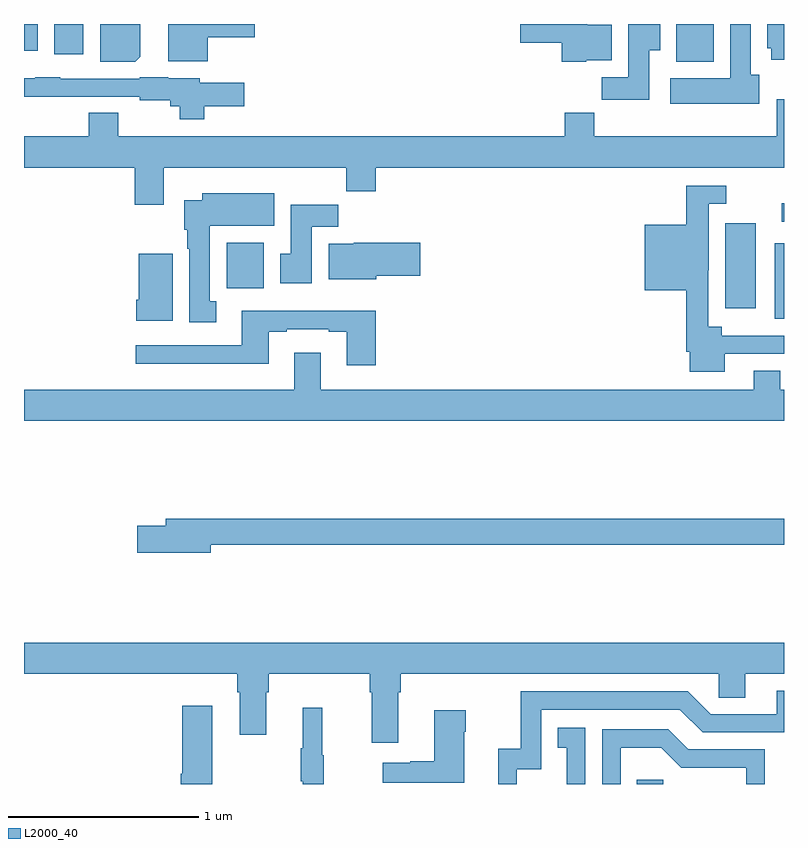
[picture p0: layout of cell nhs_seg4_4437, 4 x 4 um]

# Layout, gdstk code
import gdstk
lib = gdstk.Library(unit=1e-6, precision=1e-09)
def R(c, l, rs):  # rectangles x0, y0, x1, y1
    for r in rs: c.add(gdstk.rectangle(r[:2], r[2:], *l))
def P(c, l, *ps):  # polygons
    for p in ps: c.add(gdstk.Polygon(p, *l))
L2000_40 = (2000, 40)

nhs_seg4_4437 = lib.new_cell('nhs_seg4_4437')
R(nhs_seg4_4437, L2000_40, [(352.225,802.9,352.365,802.923), (352.952,805.349,353,805.747), (352.691,805.404,352.852,805.852), (350.066,805.508,350.263,805.75), (352.989,805.86,353,805.956), (352.433,806.702,352.63,806.9), (349.16,806.742,349.312,806.9), (349,806.76,349.072,806.9)])
P(nhs_seg4_4437, L2000_40, [(349.612,806.728),(349.612,806.9),(349.4,806.9),(349.4,806.702),(349.586,806.702)],
  [(353,806.9),(352.913,806.9),(352.913,806.772),(352.934,806.772),(352.934,806.712),(353,806.712)],
  [(351.96,806.708),(352.093,806.708),(352.093,806.896),(351.964,806.896),(351.964,806.9),(351.612,806.9),(351.612,806.801),(351.83,806.801),(351.83,806.702),(351.96,806.702)],
  [(349.966,806.831),(350.215,806.831),(350.215,806.9),(349.76,806.9),(349.76,806.705),(349.966,806.705)],
  [(352.87,806.634),(352.825,806.634),(352.825,806.9),(352.718,806.9),(352.718,806.614),(352.401,806.614),(352.401,806.48),(352.87,806.48)],
  [(352.291,806.761),(352.348,806.761),(352.348,806.9),(352.181,806.9),(352.181,806.62),(352.042,806.62),(352.042,806.502),(352.291,806.502)],
  [(349.949,806.468),(350.158,806.468),(350.158,806.59),(349.926,806.59),(349.926,806.614),(349.758,806.614),(349.758,806.62),(349.608,806.62),(349.608,806.613),(349.191,806.613),(349.191,806.62),(349.059,806.62),(349.059,806.614),(349,806.614),(349,806.516),(349.191,806.516),(349.191,806.517),(349.608,806.517),(349.608,806.498),(349.769,806.498),(349.769,806.468),(349.821,806.468),(349.821,806.399),(349.949,806.399)],
  [(349.735,806.144),(350.695,806.144),(350.695,806.02),(350.852,806.02),(350.852,806.144),(353,806.144),(353,806.503),(352.961,806.503),(352.961,806.308),(352.001,806.308),(352.001,806.432),(351.845,806.432),(351.845,806.308),(349.497,806.308),(349.497,806.432),(349.342,806.432),(349.342,806.308),(349,806.308),(349,806.144),(349.583,806.144),(349.583,805.95),(349.735,805.95)],
  [(352.687,805.164),(353,805.164),(353,805.26),(352.672,805.26),(352.672,805.306),(352.602,805.306),(352.602,805.603),(352.603,805.603),(352.603,805.953),(352.696,805.953),(352.696,806.049),(352.486,806.049),(352.486,805.843),(352.268,805.843),(352.268,805.499),(352.486,805.499),(352.486,805.174),(352.505,805.174),(352.505,805.07),(352.687,805.07)],
  [(350.011,805.442),(349.978,805.442),(349.978,805.838),(350.317,805.838),(350.317,806.008),(349.937,806.008),(349.937,805.972),(349.844,805.972),(349.844,805.818),(349.858,805.818),(349.858,805.718),(349.871,805.718),(349.871,805.329),(350.011,805.329)],
  [(350.515,805.832),(350.654,805.832),(350.654,805.95),(350.405,805.95),(350.405,805.692),(350.348,805.692),(350.348,805.536),(350.515,805.536)],
  [(350.854,805.574),(351.085,805.574),(351.085,805.75),(350.736,805.75),(350.736,805.744),(350.603,805.744),(350.603,805.556),(350.854,805.556)],
  [(349.783,805.69),(349.604,805.69),(349.604,805.45),(349.592,805.45),(349.592,805.338),(349.783,805.338)],
  [(350.852,805.39),(350.147,805.39),(350.147,805.209),(349.587,805.209),(349.587,805.112),(350.287,805.112),(350.287,805.281),(350.383,805.281),(350.383,805.293),(350.603,805.293),(350.603,805.281),(350.699,805.281),(350.699,805.104),(350.852,805.104)],
  [(353,804.976),(352.981,804.976),(352.981,805.075),(352.841,805.075),(352.841,804.976),(350.563,804.976),(350.563,805.171),(350.423,805.171),(350.423,804.976),(349,804.976),(349,804.812),(353,804.812)],
  [(349.984,804.16),(353,804.16),(353,804.296),(349.745,804.296),(349.745,804.26),(349.596,804.26),(349.596,804.118),(349.984,804.118)],
  [(350.971,803.384),(350.984,803.384),(350.984,803.48),(352.656,803.48),(352.656,803.353),(352.795,803.353),(352.795,803.48),(353,803.48),(353,803.644),(349,803.644),(349,803.48),(350.123,803.48),(350.123,803.384),(350.135,803.384),(350.135,803.16),(350.275,803.16),(350.275,803.384),(350.288,803.384),(350.288,803.48),(350.819,803.48),(350.819,803.384),(350.831,803.384),(350.831,803.118),(350.971,803.118)],
  [(351.594,802.977),(351.723,802.977),(351.723,803.292),(352.452,803.292),(352.572,803.172),(353,803.172),(353,803.391),(352.961,803.391),(352.961,803.268),(352.614,803.268),(352.494,803.388),(351.615,803.388),(351.615,803.086),(351.497,803.086),(351.497,802.9),(351.594,802.9)],
  [(349.99,803.311),(349.832,803.311),(349.832,802.953),(349.826,802.953),(349.826,802.9),(349.99,802.9)],
  [(350.578,803.052),(350.57,803.052),(350.57,803.302),(350.468,803.302),(350.468,803.089),(350.457,803.089),(350.457,802.915),(350.468,802.915),(350.468,802.9),(350.578,802.9)],
  [(351.316,803.174),(351.324,803.174),(351.324,803.287),(351.158,803.287),(351.158,803.021),(351.032,803.021),(351.032,803.011),(350.889,803.011),(350.889,802.907),(351.316,802.907)],
  [(351.954,803.197),(351.808,803.197),(351.808,803.091),(351.857,803.091),(351.857,802.9),(351.954,802.9)],
  [(352.14,803.09),(352.354,803.09),(352.458,802.986),(352.8,802.986),(352.8,802.9),(352.899,802.9),(352.899,803.082),(352.495,803.082),(352.39,803.187),(352.044,803.187),(352.044,802.9),(352.14,802.9)])

lib.write_gds('nhs_seg4_4437.gds')
